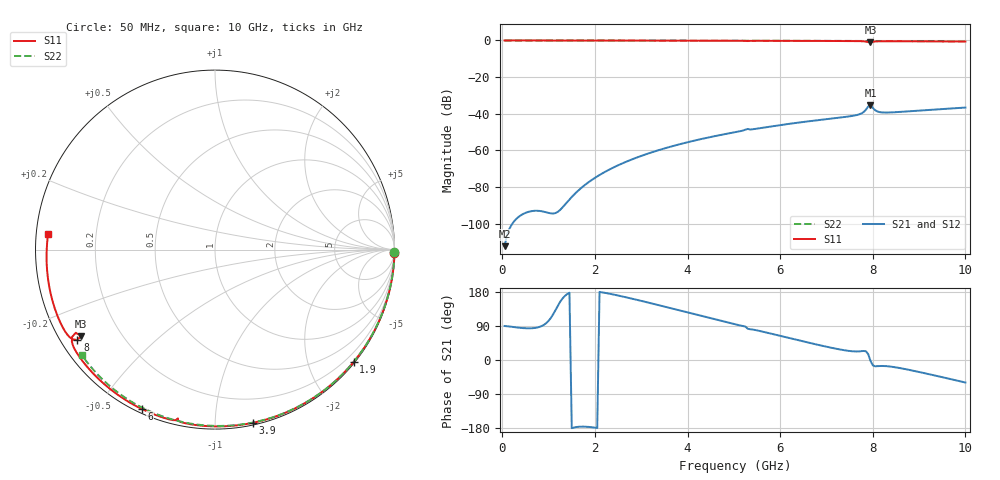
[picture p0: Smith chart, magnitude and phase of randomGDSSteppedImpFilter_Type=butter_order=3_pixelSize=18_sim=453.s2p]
! freq	dB(S11)	phase(S11)	dB(S12)	phase(S12)
!  dB(S21)	phase(S21)	dB(S22)	phase(S22)
!S-par simulation data
#  GHz  S  DB  R 50
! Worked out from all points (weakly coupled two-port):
!   200 points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, 50 MHz to 10 GHz, reference 50 ohm
!   highest |S21| = -35.41 dB at 7.95 GHz (marker M1); lowest = -112.2 dB at 50 MHz (marker M2)
!   lowest |S11| = -1.0 dB at 7.95 GHz (marker M3), VSWR 16.99, Z = 3.2 - j14.6 ohm
!   |S11| at or under -10 dB: nowhere
!   |S22| runs from -0.5 to 0.0 dB; largest |S21 - S12| = 0
!   S11 on the Smith chart (normalised r, x): 50 MHz: open; 1.9 GHz: 0.03, -2.82; 3.9 GHz: 0.02, -1.24; 6 GHz: 0.02, -0.64; 8 GHz: 0.05, -0.30; 10 GHz: 0.03, +0.05
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0.05  -0.00 -1.1  -112.23 89.7  -112.23 89.7  -0.00 -0.8
0.85  -0.02 -17.7  -93.16 89.5  -93.16 89.5  -0.01 -13.9
1.75  -0.05 -36.1  -79.53 -175.8  -79.53 -175.8  -0.04 -28.3
1.9  -0.05 -39.1  -76.65 -177.0  -76.65 -177.0  -0.04 -30.7
2.2  -0.06 -45.1  -71.94 177.6  -71.94 177.6  -0.05 -35.4
2.55  -0.07 -51.9  -67.53 168.8  -67.53 168.8  -0.05 -40.9
3.4  -0.09 -68.3  -59.66 144.0  -59.66 144.0  -0.07 -53.8
3.9  -0.11 -77.6  -56.16 128.7  -56.16 128.7  -0.08 -61.2
5.05  -0.15 -98.4  -49.92 93.5  -49.92 93.5  -0.12 -77.7
5.3  -0.33 -102.4  -48.28 82.5  -48.28 82.5  -0.13 -81.2
5.4  -0.18 -104.1  -48.47 80.6  -48.47 80.6  -0.13 -82.6
6  -0.20 -114.7  -46.16 63.7  -46.16 63.7  -0.16 -90.7
6.7  -0.25 -126.8  -43.84 43.3  -43.84 43.3  -0.19 -100.0
7.65  -0.35 -143.8  -40.72 22.5  -40.72 22.5  -0.26 -112.3
7.8  -0.46 -147.3  -39.11 23.8  -39.11 23.8  -0.27 -114.2
7.9  -0.88 -149.1  -36.04 15.9  -36.04 15.9  -0.28 -115.4
7.95  -1.02 -147.3  -35.41 -1.9  -35.41 -1.9  -0.28 -116.0
8  -0.75 -146.7  -36.78 -13.9  -36.78 -13.9  -0.28 -116.7
8.1  -0.49 -148.9  -38.74 -16.4  -38.74 -16.4  -0.29 -117.9
8.35  -0.42 -154.1  -39.30 -16.9  -39.30 -16.9  -0.31 -121.1
9.2  -0.49 -169.9  -37.91 -37.0  -37.91 -37.0  -0.39 -131.7
10  -0.59 174.8  -36.62 -59.4  -36.62 -59.4  -0.48 -141.6
